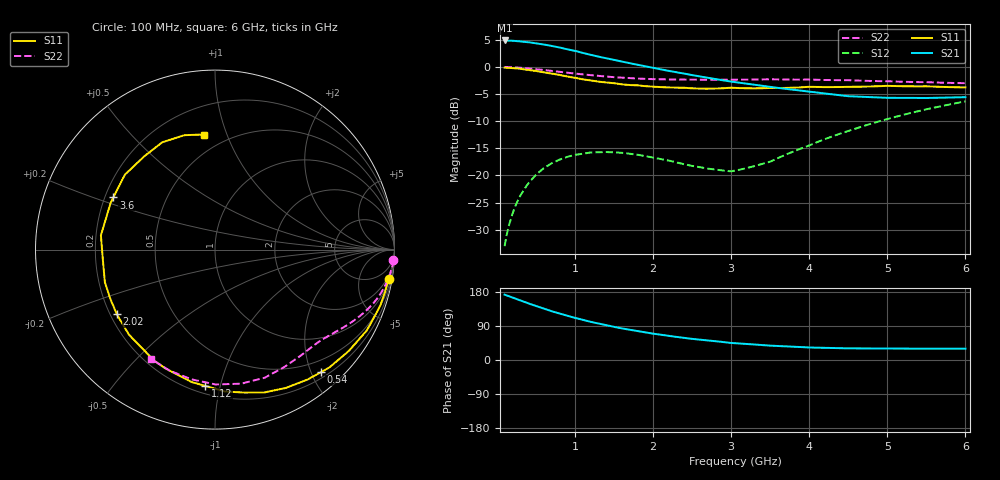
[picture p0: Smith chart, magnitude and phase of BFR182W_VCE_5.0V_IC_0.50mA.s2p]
! Infineon Technologies  Discrete & RF Semiconductors
! BFR182W
! VCE =  5.0 V,  IC = 0.50 mA
! Common Emitter S-Parameters:  Nov 2015
# GHz  S  MA  R  50
!  f  S11  S21  S12  S22
! GHz  MAG  ANG  MAG  ANG  MAG  ANG  MAG  ANG
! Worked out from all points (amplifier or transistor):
!   192 points, 100 MHz to 6 GHz, reference 50 ohm
!   highest |S21| = 4.8 dB at 100 MHz (marker M1)
!   |S21| within 3 dB of that: start of sweep to 1.309 GHz
!   unconditionally stable (mu >= 1): 2.424 GHz to 3.476 GHz
!   at 440 MHz: K = 0.17, MSG = 12.7 dB, |S12| = -20.9 dB
!   at 1.7 GHz: K = 0.67, MSG = 8.3 dB, |S12| = -16.0 dB
!   at 6 GHz: K = 0.90, MSG = 0.4 dB, |S12| = -6.4 dB
!   S11 on the Smith chart (normalised r, x): 100 MHz: 1, -12; 540 MHz: 0.29, -2.15; 1.12 GHz: 0.25, -0.90; 2.02 GHz: 0.23, -0.28; 3.6 GHz: 0.23, +0.23; 6 GHz: 0.38, +0.83
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0.1  0.9806 -9.5  1.743 172.5  0.0223 84.3  0.9944 -3.4
0.16  0.9751 -15.1  1.735 167.9  0.0356 80.3  0.992 -5.4
0.26  0.9616 -24.4  1.72 160.3  0.0568 74.8  0.9825 -8.6
0.4  0.9355 -37.1  1.684 149.7  0.0836 67.2  0.9643 -13.0
0.54  0.9021 -49.3  1.626 139.9  0.1069 59.7  0.9427 -17.0
0.7  0.8658 -62.9  1.554 128.8  0.129 52.3  0.9158 -21.0
0.8  0.8419 -71.0  1.506 122.6  0.1392 48.1  0.8974 -23.4
1  0.7923 -86.0  1.401 111.2  0.1543 40.4  0.8646 -27.6
1.1  0.7651 -92.8  1.339 106.2  0.158 37.1  0.8499 -29.4
1.12  0.761 -94.2  1.328 105.1  0.1589 36.4  0.8471 -29.8
1.2  0.7494 -100.0  1.288 100.7  0.1623 33.9  0.8361 -31.3
1.4  0.7172 -112.7  1.196 91.6  0.1639 28.7  0.8112 -34.6
1.58  0.6914 -123.2  1.124 84.1  0.1616 25.2  0.7941 -37.3
2.02  0.6541 -146.9  0.969 69.0  0.1449 21.2  0.767 -43.9
2.08  0.6495 -149.5  0.95 67.3  0.1422 21.4  0.7654 -44.8
2.5  0.6323 -168.2  0.837 55.6  0.1222 25.6  0.7596 -51.0
2.96  0.6374 174.4  0.737 46.0  0.1095 42.1  0.759 -58.8
3.1  0.6355 169.6  0.713 43.7  0.1124 48.7  0.7592 -61.4
3.6  0.6363 152.8  0.638 37.0  0.1442 67.7  0.7629 -70.8
4.1  0.6501 137.7  0.578 32.6  0.2019 74.8  0.7571 -81.1
5.1  0.663 113.9  0.517 30.0  0.3446 70.6  0.7299 -102.2
6  0.6444 95.7  0.524 29.9  0.4796 60.0  0.7055 -120.3
